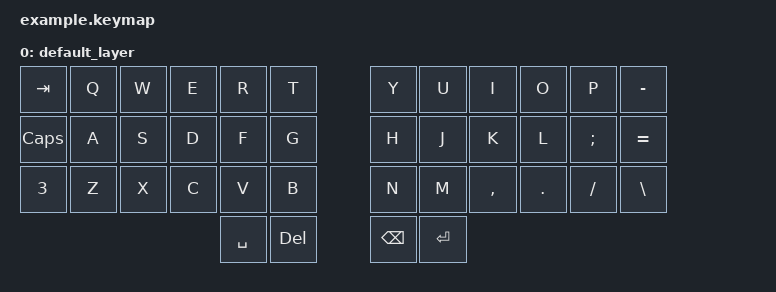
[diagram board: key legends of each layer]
 /*
 * Copyright (c) 2020 The ZMK Contributors
 *
 * SPDX-License-Identifier: MIT
 */

// 디폴트 키맵 설정

#include <behaviors.dtsi>
#include <dt-bindings/zmk/keys.h>

/ {
    keymap {
        compatible = "zmk,keymap";
 
        default_layer {
// ------------------------------------------------------------------------------------------------------------
// |  TAB  |  Q  |  W  |  E   |  R   |  T   |                   |  Y   |  U    |  I    |  O   |   P   |   -   |
// |  CTRL |  A  |  S  |  D   |  F   |  G   |                   |  H   |  J    |  K    |  L   |   ;   |   '   |
// |   3   |  Z  |  X  |  C   |  V   |  B   |                   |  N   |  M    |  ,    |  .   |   /   | SHIFT |
//                            | SPACE| DEL  |                   | BSPC |  RET  | 
bindings = <
&kp TAB   &kp Q         &kp W         &kp E          &kp R           &kp T                    /**/            &kp Y      &kp U           &kp I          &kp O         &kp P            &kp MINUS
&kp CAPS  &kp A         &kp S         &kp D          &kp F           &kp G                    /**/            &kp H      &kp J           &kp K          &kp L         &kp SEMI         &kp EQUAL
&kp 3     &kp Z         &kp X         &kp C          &kp V           &kp B                    /**/            &kp N      &kp M           &kp COMMA      &kp DOT       &kp FSLH         &kp BSLH
                                                     &kp SPACE       &kp DEL                /**/              &kp BSPC   &kp RET                           
            >;
        };
    };
};
